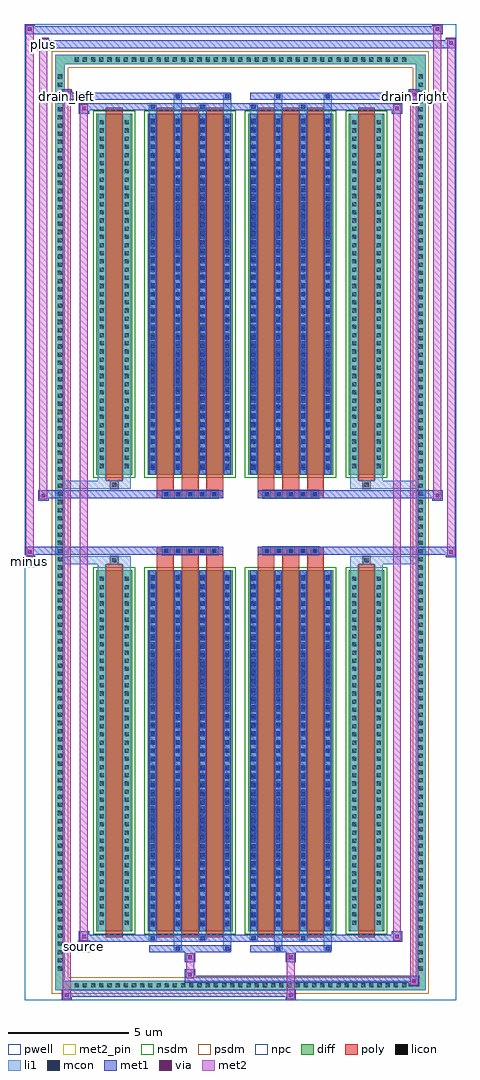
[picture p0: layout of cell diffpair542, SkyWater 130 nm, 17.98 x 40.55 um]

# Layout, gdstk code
import gdstk
lib = gdstk.Library(unit=1e-6, precision=5e-09)
def R(c, l, rs):  # rectangles x0, y0, x1, y1
    for r in rs: c.add(gdstk.rectangle(r[:2], r[2:], *l))
def A(c, l, x, y, w, h, nx, ny, dx, dy):  # array of equal rectangles
    R(c, l, [(x+i*dx, y+j*dy, x+i*dx+w, y+j*dy+h) for i in range(nx) for j in range(ny)])
def P(c, l, *ps):  # polygons
    for p in ps: c.add(gdstk.Polygon(p, *l))
pwell = (64, 44)
diff = (65, 20)
poly = (66, 20)
licon = (66, 44)
li1 = (67, 20)
mcon = (67, 44)
met1 = (68, 20)
via = (68, 44)
met2_pin = (69, 16)
met2 = (69, 20)
nsdm = (93, 44)
psdm = (94, 20)
npc = (95, 20)

diffpair542 = lib.new_cell('diffpair542')
R(diffpair542, pwell, [(-8.97,-19.84,8.97,20.71), (-6.29,-18.03,-0.01,-0.805), (0.01,-18.03,6.29,-0.805), (-6.29,0.805,-0.01,18.03), (0.01,0.805,6.29,18.03)])
A(diffpair542, diff, -7.005, -19.44, 0.41, 0.41, 41, 2, 0.34, 38.47)
A(diffpair542, diff, -7.7, -18.735, 0.41, 0.41, 1, 110, 0, 0.34)
A(diffpair542, diff, 7.29, -18.735, 0.41, 0.41, 1, 110, 0, 0.34)
R(diffpair542, diff, [(-7.005,-19.44,7.005,-19.03), (-7.7,-18.735,-7.29,18.735), (7.29,-18.735,7.7,18.735), (-5.98,-16.985,-4.5,-1.985), (-3.86,-16.985,-0.32,-1.985), (0.32,-16.985,3.86,-1.985), (4.5,-16.985,5.98,-1.985), (-5.98,1.985,-4.5,16.985), (-3.86,1.985,-0.32,16.985), (0.32,1.985,3.86,16.985), (4.5,1.985,5.98,16.985), (-7.005,19.03,7.005,19.44)])
P(diffpair542, diff, [(7.7,19.44),(-7.7,19.44),(-7.7,-19.03),(-7.29,-19.03),(-7.29,19.03),(7.29,19.03),(7.29,-19.03),(-7.29,-19.03),(-7.7,-19.03),(-7.7,-19.44),(7.7,-19.44)])
A(diffpair542, poly, -3.47, -17.235, 0.7, 15.5, 3, 2, 1.03, 18.97)
A(diffpair542, poly, 0.71, -17.235, 0.7, 15.5, 3, 2, 1.03, 18.97)
A(diffpair542, poly, -3.47, -1.735, 0.7, 0.4, 3, 2, 1.03, 3.07)
A(diffpair542, poly, 0.71, -1.735, 0.7, 0.4, 3, 2, 1.03, 3.07)
A(diffpair542, poly, -3.255, -1.335, 0.33, 0.33, 5, 2, 0.5, 2.34)
A(diffpair542, poly, 0.925, -1.335, 0.33, 0.33, 5, 2, 0.5, 2.34)
R(diffpair542, poly, [(-5.59,-17.235,-4.89,-1.735), (4.89,-17.235,5.59,-1.735), (-5.405,-1.735,-5.075,-1.405), (-5.405,-1.735,-5.075,-1.405), (5.075,-1.735,5.405,-1.405), (5.075,-1.735,5.405,-1.405), (-3.47,-1.335,-0.71,-1.005), (0.71,-1.335,3.47,-1.005), (-3.47,1.005,-0.71,1.335), (0.71,1.005,3.47,1.335), (-5.405,1.405,-5.075,1.735), (-5.405,1.405,-5.075,1.735), (5.075,1.405,5.405,1.735), (5.075,1.405,5.405,1.735), (-5.59,1.735,-4.89,17.235), (4.89,1.735,5.59,17.235)])
A(diffpair542, licon, -6.885, -19.32, 0.17, 0.17, 41, 2, 0.34, 38.47)
A(diffpair542, licon, -7.58, -18.615, 0.17, 0.17, 1, 110, 0, 0.34)
A(diffpair542, licon, 7.41, -18.615, 0.17, 0.17, 1, 110, 0, 0.34)
A(diffpair542, licon, -5.84, -16.71, 0.17, 0.17, 1, 43, 0, 0.34)
A(diffpair542, licon, -4.81, -16.71, 0.17, 0.17, 1, 43, 0, 0.34)
A(diffpair542, licon, -3.72, -16.71, 0.17, 0.17, 4, 43, 1.03, 0.34)
A(diffpair542, licon, 0.46, -16.71, 0.17, 0.17, 4, 43, 1.03, 0.34)
A(diffpair542, licon, 4.64, -16.71, 0.17, 0.17, 1, 43, 0, 0.34)
A(diffpair542, licon, 5.67, -16.71, 0.17, 0.17, 1, 43, 0, 0.34)
A(diffpair542, licon, -3.175, -1.255, 0.17, 0.17, 5, 2, 0.5, 2.34)
A(diffpair542, licon, 1.005, -1.255, 0.17, 0.17, 5, 2, 0.5, 2.34)
A(diffpair542, licon, -5.84, 2.26, 0.17, 0.17, 1, 43, 0, 0.34)
A(diffpair542, licon, -4.81, 2.26, 0.17, 0.17, 1, 43, 0, 0.34)
A(diffpair542, licon, -3.72, 2.26, 0.17, 0.17, 4, 43, 1.03, 0.34)
A(diffpair542, licon, 0.46, 2.26, 0.17, 0.17, 4, 43, 1.03, 0.34)
A(diffpair542, licon, 4.64, 2.26, 0.17, 0.17, 1, 43, 0, 0.34)
A(diffpair542, licon, 5.67, 2.26, 0.17, 0.17, 1, 43, 0, 0.34)
R(diffpair542, licon, [(-5.325,-1.655,-5.155,-1.485), (5.155,-1.655,5.325,-1.485), (-5.325,1.485,-5.155,1.655), (5.155,1.485,5.325,1.655)])
A(diffpair542, li1, -6.965, -19.4, 0.33, 0.33, 41, 2, 0.34, 38.47)
A(diffpair542, li1, -7.66, -18.695, 0.33, 0.33, 1, 110, 0, 0.34)
A(diffpair542, li1, 7.33, -18.695, 0.33, 0.33, 1, 110, 0, 0.34)
A(diffpair542, li1, -3.8, -16.985, 0.33, 15, 4, 2, 1.03, 18.97)
A(diffpair542, li1, 0.38, -16.985, 0.33, 15, 4, 2, 1.03, 18.97)
A(diffpair542, li1, -5.92, -16.79, 0.33, 0.33, 1, 43, 0, 0.34)
A(diffpair542, li1, -4.89, -16.79, 0.33, 0.33, 1, 43, 0, 0.34)
A(diffpair542, li1, -3.8, -16.79, 0.33, 0.33, 4, 43, 1.03, 0.34)
A(diffpair542, li1, 0.38, -16.79, 0.33, 0.33, 4, 43, 1.03, 0.34)
A(diffpair542, li1, 4.56, -16.79, 0.33, 0.33, 1, 43, 0, 0.34)
A(diffpair542, li1, 5.59, -16.79, 0.33, 0.33, 1, 43, 0, 0.34)
A(diffpair542, li1, -3.72, -16.77, 0.17, 0.17, 4, 41, 1.03, 0.36)
A(diffpair542, li1, -3.72, -16.77, 0.17, 14.57, 4, 2, 1.03, 18.97)
A(diffpair542, li1, 0.46, -16.77, 0.17, 0.17, 4, 41, 1.03, 0.36)
A(diffpair542, li1, 0.46, -16.77, 0.17, 14.57, 4, 2, 1.03, 18.97)
A(diffpair542, li1, -3.255, -1.335, 0.33, 0.33, 5, 2, 0.5, 2.34)
A(diffpair542, li1, 0.925, -1.335, 0.33, 0.33, 5, 2, 0.5, 2.34)
A(diffpair542, li1, -5.92, 2.18, 0.33, 0.33, 1, 43, 0, 0.34)
A(diffpair542, li1, -4.89, 2.18, 0.33, 0.33, 1, 43, 0, 0.34)
A(diffpair542, li1, -3.8, 2.18, 0.33, 0.33, 4, 43, 1.03, 0.34)
A(diffpair542, li1, 0.38, 2.18, 0.33, 0.33, 4, 43, 1.03, 0.34)
A(diffpair542, li1, 4.56, 2.18, 0.33, 0.33, 1, 43, 0, 0.34)
A(diffpair542, li1, 5.59, 2.18, 0.33, 0.33, 1, 43, 0, 0.34)
A(diffpair542, li1, -3.72, 2.2, 0.17, 0.17, 4, 41, 1.03, 0.36)
A(diffpair542, li1, 0.46, 2.2, 0.17, 0.17, 4, 41, 1.03, 0.36)
R(diffpair542, li1, [(-7.7,-19.44,-7.29,-19.03), (-7.7,-19.44,-7.29,-19.03), (-7.29,-19.44,7.29,-19.03), (7.29,-19.44,7.7,-19.03), (7.29,-19.44,7.7,-19.03), (-7.7,-19.03,-7.29,19.03), (7.29,-19.03,7.7,19.03), (-2.77,-17.79,-2.44,-16.985), (-2.69,-17.79,-2.52,-17.62), (-0.71,-17.79,-0.38,-16.985), (-0.63,-17.79,-0.46,-17.62), (1.41,-17.79,1.74,-16.985), (1.49,-17.79,1.66,-17.62), (3.47,-17.79,3.8,-16.985), (3.55,-17.79,3.72,-17.62), (-3.8,-17.36,-3.47,-16.985), (-3.72,-17.36,-3.55,-17.19), (-1.74,-17.36,-1.41,-16.985), (-1.66,-17.36,-1.49,-17.19), (0.38,-17.36,0.71,-16.985), (0.46,-17.36,0.63,-17.19), (2.44,-17.36,2.77,-16.985), (2.52,-17.36,2.69,-17.19), (-5.92,-16.985,-5.59,-1.985), (-4.89,-16.985,-4.56,-1.985), (4.56,-16.985,4.89,-1.985), (5.59,-16.985,5.92,-1.985), (-5.92,-1.985,-5.59,-1.405), (-4.89,-1.985,-4.56,-1.405), (4.56,-1.985,4.89,-1.405), (5.59,-1.985,5.92,-1.405), (-7.7,-1.735,-5.405,-1.405), (-5.92,-1.735,-5.405,-1.405), (-5.405,-1.735,-5.075,-1.405), (-5.075,-1.735,-4.56,-1.405), (4.56,-1.735,5.075,-1.405), (5.075,-1.735,5.405,-1.405), (5.075,-1.735,7.7,-1.405), (5.405,-1.735,5.92,-1.405), (-7.7,1.405,-5.405,1.735), (-5.92,1.405,-5.405,1.735), (-5.92,1.405,-5.59,1.985), (-5.405,1.405,-5.075,1.735), (-5.075,1.405,-4.56,1.735), (-4.89,1.405,-4.56,1.985), (4.56,1.405,5.075,1.735), (4.56,1.405,4.89,1.985), (5.075,1.405,5.405,1.735), (5.075,1.405,7.7,1.735), (5.405,1.405,5.92,1.735), (5.59,1.405,5.92,1.985), (-5.92,1.985,-5.59,16.985), (-4.89,1.985,-4.56,16.985), (4.56,1.985,4.89,16.985), (5.59,1.985,5.92,16.985), (-3.8,16.985,-3.47,17.36), (-2.77,16.985,-2.44,17.79), (-1.74,16.985,-1.41,17.36), (-0.71,16.985,-0.38,17.79), (0.38,16.985,0.71,17.36), (1.41,16.985,1.74,17.79), (2.44,16.985,2.77,17.36), (3.47,16.985,3.8,17.79), (-3.72,17.19,-3.55,17.36), (-1.66,17.19,-1.49,17.36), (0.46,17.19,0.63,17.36), (2.52,17.19,2.69,17.36), (-2.69,17.62,-2.52,17.79), (-0.63,17.62,-0.46,17.79), (1.49,17.62,1.66,17.79), (3.55,17.62,3.72,17.79), (-7.7,19.03,-7.29,19.44), (-7.7,19.03,-7.29,19.44), (-7.29,19.03,7.29,19.44), (7.29,19.03,7.7,19.44), (7.29,19.03,7.7,19.44)])
A(diffpair542, mcon, -3.72, -16.77, 0.17, 0.17, 4, 41, 1.03, 0.36)
A(diffpair542, mcon, 0.46, -16.77, 0.17, 0.17, 4, 41, 1.03, 0.36)
A(diffpair542, mcon, -3.175, -1.255, 0.17, 0.17, 5, 2, 0.5, 2.34)
A(diffpair542, mcon, 1.005, -1.255, 0.17, 0.17, 5, 2, 0.5, 2.34)
A(diffpair542, mcon, -3.72, 2.2, 0.17, 0.17, 4, 41, 1.03, 0.36)
A(diffpair542, mcon, 0.46, 2.2, 0.17, 0.17, 4, 41, 1.03, 0.36)
R(diffpair542, mcon, [(-2.69,-17.79,-2.52,-17.62), (-0.63,-17.79,-0.46,-17.62), (1.49,-17.79,1.66,-17.62), (3.55,-17.79,3.72,-17.62), (-3.72,-17.36,-3.55,-17.19), (-1.66,-17.36,-1.49,-17.19), (0.46,-17.36,0.63,-17.19), (2.52,-17.36,2.69,-17.19), (-3.72,17.19,-3.55,17.36), (-1.66,17.19,-1.49,17.36), (0.46,17.19,0.63,17.36), (2.52,17.19,2.69,17.36), (-2.69,17.62,-2.52,17.79), (-0.63,17.62,-0.46,17.79), (1.49,17.62,1.66,17.79), (3.55,17.62,3.72,17.79)])
A(diffpair542, met1, -3.78, -16.985, 0.29, 15, 4, 2, 1.03, 18.97)
A(diffpair542, met1, 0.4, -16.985, 0.29, 15, 4, 2, 1.03, 18.97)
A(diffpair542, met1, -3.78, -16.83, 0.29, 0.29, 4, 41, 1.03, 0.36)
A(diffpair542, met1, 0.4, -16.83, 0.29, 0.29, 4, 41, 1.03, 0.36)
A(diffpair542, met1, -3.235, -1.315, 0.29, 0.29, 5, 2, 0.5, 2.34)
A(diffpair542, met1, 0.945, -1.315, 0.29, 0.29, 5, 2, 0.5, 2.34)
A(diffpair542, met1, -3.78, 2.14, 0.29, 0.29, 4, 41, 1.03, 0.36)
A(diffpair542, met1, 0.4, 2.14, 0.29, 0.29, 4, 41, 1.03, 0.36)
R(diffpair542, met1, [(-7.43,-19.84,-7,-19.41), (1.875,-19.84,2.305,-19.41), (-7.43,-19.7,2.305,-19.41), (7,-19.27,7.43,-18.84), (-2.305,-19.13,7.43,-18.84), (-2.305,-18.99,-1.875,-18.56), (-2.305,-18.28,-1.875,-17.85), (1.875,-18.28,2.305,-17.85), (-3.78,-17.85,-0.4,-17.56), (-2.75,-17.85,-2.46,-17.56), (-0.69,-17.85,-0.4,-17.56), (0.4,-17.85,3.78,-17.56), (1.43,-17.85,1.72,-17.56), (3.49,-17.85,3.78,-17.56), (-6.72,-17.42,-6.29,-16.99), (-6.72,-17.42,-3.78,-17.13), (-3.78,-17.42,-3.49,-17.13), (-3.78,-17.42,-0.4,-17.13), (-1.72,-17.42,-1.43,-17.13), (-0.4,-17.42,0.4,-17.13), (0.4,-17.42,0.69,-17.13), (0.4,-17.42,3.78,-17.13), (2.46,-17.42,2.75,-17.13), (3.78,-17.42,6.72,-17.13), (6.29,-17.42,6.72,-16.99), (-8.97,-1.435,-8.54,-1.005), (8.54,-1.435,8.97,-1.005), (-8.97,-1.335,-0.71,-1.005), (-3.47,-1.335,-0.71,-1.005), (0.71,-1.335,3.47,-1.005), (0.71,-1.335,8.97,-1.005), (-8.4,0.905,-7.97,1.335), (7.97,0.905,8.4,1.335), (-8.4,1.005,-3.47,1.335), (-3.47,1.005,-0.71,1.335), (0.71,1.005,3.47,1.335), (3.47,1.005,8.4,1.335), (-6.72,16.99,-6.29,17.42), (6.29,16.99,6.72,17.42), (-6.72,17.13,-3.78,17.42), (-3.78,17.13,-3.49,17.42), (-3.78,17.13,-0.4,17.42), (-1.72,17.13,-1.43,17.42), (-0.4,17.13,0.4,17.42), (0.4,17.13,0.69,17.42), (0.4,17.13,3.78,17.42), (2.46,17.13,2.75,17.42), (3.78,17.13,6.72,17.42), (-7.43,17.56,-7,17.99), (-7.43,17.56,-3.78,17.85), (-3.78,17.56,-0.4,17.85), (-2.75,17.56,-2.46,17.85), (-0.69,17.56,-0.4,17.85), (0.4,17.56,3.78,17.85), (1.43,17.56,1.72,17.85), (3.49,17.56,3.78,17.85), (3.78,17.56,7.43,17.85), (7,17.56,7.43,17.99), (-8.4,19.71,-7.97,20.14), (-8.4,19.71,-6.29,20.04), (-6.29,19.71,6.29,20.04), (6.29,19.71,8.97,20.04), (8.54,19.71,8.97,20.14), (-8.97,20.28,-8.54,20.71), (-8.97,20.28,-6.29,20.61), (-6.29,20.28,6.29,20.61), (6.29,20.28,8.4,20.61), (7.97,20.28,8.4,20.71)])
R(diffpair542, via, [(-7.29,-19.7,-7.14,-19.55), (2.015,-19.7,2.165,-19.55), (7.14,-19.13,7.29,-18.98), (-2.165,-18.85,-2.015,-18.7), (-2.165,-18.14,-2.015,-17.99), (2.015,-18.14,2.165,-17.99), (-6.58,-17.28,-6.43,-17.13), (6.43,-17.28,6.58,-17.13), (-8.83,-1.295,-8.68,-1.145), (8.68,-1.295,8.83,-1.145), (-8.26,1.045,-8.11,1.195), (8.11,1.045,8.26,1.195), (-6.58,17.13,-6.43,17.28), (6.43,17.13,6.58,17.28), (-7.29,17.7,-7.14,17.85), (7.14,17.7,7.29,17.85), (-8.26,19.85,-8.11,20), (8.68,19.85,8.83,20), (-8.83,20.42,-8.68,20.57), (8.11,20.42,8.26,20.57)])
R(diffpair542, met2_pin, [(-6.755,-17.87,-6.255,-17.37), (-9.005,-1.885,-8.505,-1.385), (-7.465,17.44,-6.965,17.94), (6.965,17.44,7.465,17.94), (-8.435,19.59,-7.935,20.09)])
R(diffpair542, met2, [(-7.38,-19.79,-7.05,-19.46), (-7.38,-19.79,-7.05,17.94), (1.925,-19.79,2.255,-19.46), (1.925,-19.46,2.255,-18.23), (7.05,-19.22,7.38,-18.89), (7.05,-19.22,7.38,17.94), (-2.255,-18.94,-1.925,-18.61), (-2.255,-18.61,-1.925,-18.23), (-2.255,-18.23,-1.925,-17.9), (1.925,-18.23,2.255,-17.9), (-6.67,-17.37,-6.34,-17.04), (-6.67,-17.37,-6.34,17.37), (6.34,-17.37,6.67,-17.04), (6.34,-17.37,6.67,17.37), (-8.92,-1.385,-8.59,-1.055), (-8.92,-1.385,-8.59,20.66), (8.59,-1.385,8.92,-1.055), (8.59,-1.385,8.92,20.09), (-8.35,0.955,-8.02,1.285), (-8.35,0.955,-8.02,20.09), (8.02,0.955,8.35,1.285), (8.02,0.955,8.35,20.66), (-6.67,17.04,-6.34,17.37), (6.34,17.04,6.67,17.37), (-7.38,17.61,-7.05,17.94), (7.05,17.61,7.38,17.94), (-8.35,19.76,-8.02,20.09), (8.59,19.76,8.92,20.09), (-8.92,20.33,-8.59,20.66), (8.02,20.33,8.35,20.66)])
P(diffpair542, met2, [(8.92,-1.385),(8.92,-1.385),(8.92,-1.055),(8.92,-1.055)],
  [(8.92,19.76),(8.92,19.76),(8.92,20.09),(8.92,20.09)],
  [(-8.59,-1.385),(-8.59,-1.385),(-8.59,-1.055),(-8.59,-1.055)],
  [(-8.59,20.33),(-8.59,20.33),(-8.59,20.66),(-8.59,20.66)],
  [(8.35,0.955),(8.35,0.955),(8.35,1.285),(8.35,1.285)],
  [(8.35,20.33),(8.35,20.33),(8.35,20.66),(8.35,20.66)],
  [(-8.02,0.955),(-8.02,0.955),(-8.02,1.285),(-8.02,1.285)],
  [(-8.02,19.76),(-8.02,19.76),(-8.02,20.09),(-8.02,20.09)],
  [(-7.05,-19.79),(-7.05,-19.79),(-7.05,-19.46),(-7.05,-19.46)],
  [(-7.05,17.61),(-7.05,17.61),(-7.05,17.94),(-7.05,17.94)],
  [(7.38,-19.22),(7.38,-19.22),(7.38,-18.89),(7.38,-18.89)],
  [(7.38,17.61),(7.38,17.61),(7.38,17.94),(7.38,17.94)],
  [(-6.34,-17.37),(-6.34,-17.37),(-6.34,-17.04),(-6.34,-17.04)],
  [(-6.34,17.04),(-6.34,17.04),(-6.34,17.37),(-6.34,17.37)],
  [(6.67,-17.37),(6.67,-17.37),(6.67,-17.04),(6.67,-17.04)],
  [(6.67,17.04),(6.67,17.04),(6.67,17.37),(6.67,17.37)])
R(diffpair542, nsdm, [(-6.11,-17.115,-4.37,-1.855), (-3.99,-17.115,-0.19,-1.855), (0.19,-17.115,3.99,-1.855), (4.37,-17.115,6.11,-1.855), (-6.11,1.855,-4.37,17.115), (-3.99,1.855,-0.19,17.115), (0.19,1.855,3.99,17.115), (4.37,1.855,6.11,17.115)])
P(diffpair542, psdm, [(7.83,19.57),(-7.83,19.57),(-7.83,-18.9),(-7.16,-18.9),(-7.16,18.9),(7.16,18.9),(7.16,-18.9),(-7.16,-18.9),(-7.83,-18.9),(-7.83,-19.57),(7.83,-19.57)])
A(diffpair542, npc, -3.275, -1.355, 0.37, 0.37, 5, 2, 0.5, 2.34)
A(diffpair542, npc, 0.905, -1.355, 0.37, 0.37, 5, 2, 0.5, 2.34)
R(diffpair542, npc, [(-5.425,-1.755,-5.055,-1.385), (5.055,-1.755,5.425,-1.385), (-3.275,-1.355,-2.405,-0.985), (-3.275,-1.355,-2.405,-0.985), (-2.775,-1.355,-1.905,-0.985), (-2.775,-1.355,-1.905,-0.985), (-2.275,-1.355,-1.405,-0.985), (-2.275,-1.355,-1.405,-0.985), (-1.775,-1.355,-0.905,-0.985), (-1.775,-1.355,-0.905,-0.985), (0.905,-1.355,1.775,-0.985), (0.905,-1.355,1.775,-0.985), (1.405,-1.355,2.275,-0.985), (1.405,-1.355,2.275,-0.985), (1.905,-1.355,2.775,-0.985), (1.905,-1.355,2.775,-0.985), (2.405,-1.355,3.275,-0.985), (2.405,-1.355,3.275,-0.985), (-3.275,0.985,-2.405,1.355), (-3.275,0.985,-2.405,1.355), (-2.775,0.985,-1.905,1.355), (-2.775,0.985,-1.905,1.355), (-2.275,0.985,-1.405,1.355), (-2.275,0.985,-1.405,1.355), (-1.775,0.985,-0.905,1.355), (-1.775,0.985,-0.905,1.355), (0.905,0.985,1.775,1.355), (0.905,0.985,1.775,1.355), (1.405,0.985,2.275,1.355), (1.405,0.985,2.275,1.355), (1.905,0.985,2.775,1.355), (1.905,0.985,2.775,1.355), (2.405,0.985,3.275,1.355), (2.405,0.985,3.275,1.355), (-5.425,1.385,-5.055,1.755), (5.055,1.385,5.425,1.755)])
diffpair542.add(gdstk.Label('minus', (-8.755,-1.635), layer=69, texttype=5))
diffpair542.add(gdstk.Label('drain_right', (7.215,17.69), layer=69, texttype=5))
diffpair542.add(gdstk.Label('drain_left', (-7.215,17.69), layer=69, texttype=5))
diffpair542.add(gdstk.Label('source', (-6.505,-17.62), layer=69, texttype=5))
diffpair542.add(gdstk.Label('plus', (-8.185,19.84), layer=69, texttype=5))

lib.write_gds('diffpair542.gds')
